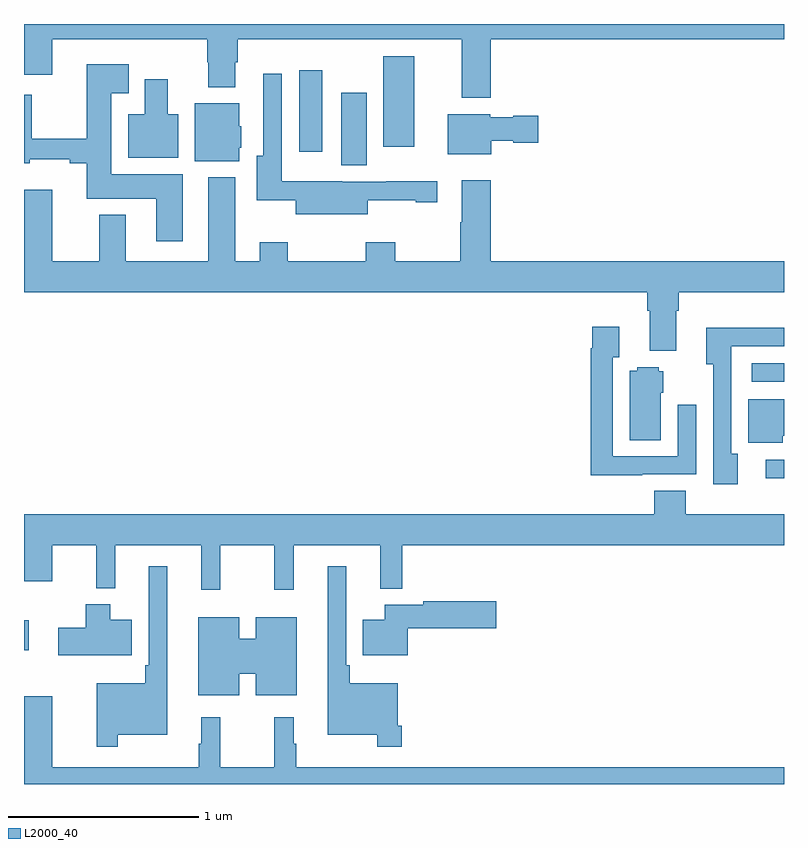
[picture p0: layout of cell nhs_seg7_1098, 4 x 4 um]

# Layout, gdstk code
import gdstk
lib = gdstk.Library(unit=1e-6, precision=1e-09)
def R(c, l, rs):  # rectangles x0, y0, x1, y1
    for r in rs: c.add(gdstk.rectangle(r[:2], r[2:], *l))
def P(c, l, *ps):  # polygons
    for p in ps: c.add(gdstk.Polygon(p, *l))
L2000_40 = (2000, 40)

nhs_seg7_1098 = lib.new_cell('nhs_seg7_1098')
R(nhs_seg7_1098, L2000_40, [(189,1026.704,189.025,1026.862), (192.903,1027.61,193,1027.707), (192.831,1028.118,193,1028.214), (190.67,1029.257,190.804,1029.637), (190.448,1029.327,190.57,1029.757), (190.892,1029.353,191.053,1029.829)])
P(nhs_seg7_1098, L2000_40, [(191.456,1029.92),(193,1029.92),(193,1030),(189,1030),(189,1029.732),(189.148,1029.732),(189.148,1029.92),(189.964,1029.92),(189.964,1029.8),(189.971,1029.8),(189.971,1029.668),(190.111,1029.668),(190.111,1029.8),(190.124,1029.8),(190.124,1029.92),(191.303,1029.92),(191.303,1029.611),(191.456,1029.611)],
  [(189.835,1029.208),(189.46,1029.208),(189.46,1029.635),(189.55,1029.635),(189.55,1029.787),(189.331,1029.787),(189.331,1029.397),(189.042,1029.397),(189.042,1029.628),(189,1029.628),(189,1029.268),(189.03,1029.268),(189.03,1029.287),(189.242,1029.287),(189.242,1029.268),(189.331,1029.268),(189.331,1029.08),(189.695,1029.08),(189.695,1028.856),(189.835,1028.856)],
  [(190.81,1029.073),(191.063,1029.073),(191.063,1029.063),(191.176,1029.063),(191.176,1029.173),(190.906,1029.173),(190.906,1029.171),(190.674,1029.171),(190.674,1029.172),(190.356,1029.172),(190.356,1029.739),(190.26,1029.739),(190.26,1029.307),(190.226,1029.307),(190.226,1029.073),(190.43,1029.073),(190.43,1028.999),(190.81,1028.999)],
  [(189.811,1029.526),(189.757,1029.526),(189.757,1029.709),(189.635,1029.709),(189.635,1029.526),(189.548,1029.526),(189.548,1029.296),(189.811,1029.296)],
  [(190.132,1029.348),(190.144,1029.348),(190.144,1029.462),(190.132,1029.462),(190.132,1029.583),(189.899,1029.583),(189.899,1029.278),(190.132,1029.278)],
  [(191.458,1029.386),(191.574,1029.386),(191.574,1029.374),(191.707,1029.374),(191.707,1029.516),(191.574,1029.516),(191.574,1029.508),(191.454,1029.508),(191.454,1029.526),(191.231,1029.526),(191.231,1029.314),(191.458,1029.314)],
  [(192.433,1028.492),(192.446,1028.492),(192.446,1028.588),(193,1028.588),(193,1028.752),(191.456,1028.752),(191.456,1029.178),(191.303,1029.178),(191.303,1028.957),(191.296,1028.957),(191.296,1028.752),(190.953,1028.752),(190.953,1028.851),(190.798,1028.851),(190.798,1028.752),(190.389,1028.752),(190.389,1028.851),(190.241,1028.851),(190.241,1028.752),(190.111,1028.752),(190.111,1029.193),(189.971,1029.193),(189.971,1028.752),(189.535,1028.752),(189.535,1028.995),(189.395,1028.995),(189.395,1028.752),(189.148,1028.752),(189.148,1029.127),(189,1029.127),(189,1028.588),(192.281,1028.588),(192.281,1028.492),(192.293,1028.492),(192.293,1028.279),(192.433,1028.279)],
  [(192.253,1027.629),(192.537,1027.629),(192.537,1027.996),(192.441,1027.996),(192.441,1027.725),(192.099,1027.725),(192.099,1028.246),(192.133,1028.246),(192.133,1028.407),(191.991,1028.407),(191.991,1028.294),(191.983,1028.294),(191.983,1027.625),(192.253,1027.625)],
  [(192.757,1027.738),(192.723,1027.738),(192.723,1028.304),(193,1028.304),(193,1028.402),(192.59,1028.402),(192.59,1028.21),(192.627,1028.21),(192.627,1027.578),(192.757,1027.578)],
  [(192.352,1028.058),(192.364,1028.058),(192.364,1028.172),(192.342,1028.172),(192.342,1028.194),(192.228,1028.194),(192.228,1028.176),(192.188,1028.176),(192.188,1027.81),(192.352,1027.81)],
  [(192.993,1027.833),(193,1027.833),(193,1028.025),(192.812,1028.025),(192.812,1027.797),(192.993,1027.797)],
  [(190.034,1027.256),(190.318,1027.256),(190.318,1027.023),(190.421,1027.023),(190.421,1027.256),(190.874,1027.256),(190.874,1027.028),(190.991,1027.028),(190.991,1027.256),(193,1027.256),(193,1027.42),(192.482,1027.42),(192.482,1027.544),(192.317,1027.544),(192.317,1027.42),(189,1027.42),(189,1027.068),(189.148,1027.068),(189.148,1027.256),(189.379,1027.256),(189.379,1027.031),(189.479,1027.031),(189.479,1027.256),(189.932,1027.256),(189.932,1027.023),(190.034,1027.023)],
  [(189.493,1026.26),(189.754,1026.26),(189.754,1027.147),(189.657,1027.147),(189.657,1026.625),(189.637,1026.625),(189.637,1026.529),(189.384,1026.529),(189.384,1026.195),(189.493,1026.195)],
  [(190.988,1026.307),(190.968,1026.307),(190.968,1026.529),(190.715,1026.529),(190.715,1026.625),(190.695,1026.625),(190.695,1027.147),(190.598,1027.147),(190.598,1026.26),(190.86,1026.26),(190.86,1026.195),(190.988,1026.195)],
  [(191.02,1026.821),(191.485,1026.821),(191.485,1026.963),(191.1,1026.963),(191.1,1026.943),(190.898,1026.943),(190.898,1026.865),(190.784,1026.865),(190.784,1026.677),(191.02,1026.677)],
  [(189.568,1026.865),(189.454,1026.865),(189.454,1026.946),(189.325,1026.946),(189.325,1026.822),(189.18,1026.822),(189.18,1026.677),(189.568,1026.677)],
  [(190.132,1026.581),(190.22,1026.581),(190.22,1026.467),(190.435,1026.467),(190.435,1026.877),(190.22,1026.877),(190.22,1026.764),(190.132,1026.764),(190.132,1026.877),(189.917,1026.877),(189.917,1026.467),(190.132,1026.467)],
  [(193,1026.088),(190.432,1026.088),(190.432,1026.212),(190.42,1026.212),(190.42,1026.352),(190.318,1026.352),(190.318,1026.088),(190.034,1026.088),(190.034,1026.352),(189.932,1026.352),(189.932,1026.212),(189.921,1026.212),(189.921,1026.088),(189.148,1026.088),(189.148,1026.463),(189,1026.463),(189,1026),(193,1026)])

lib.write_gds('nhs_seg7_1098.gds')
